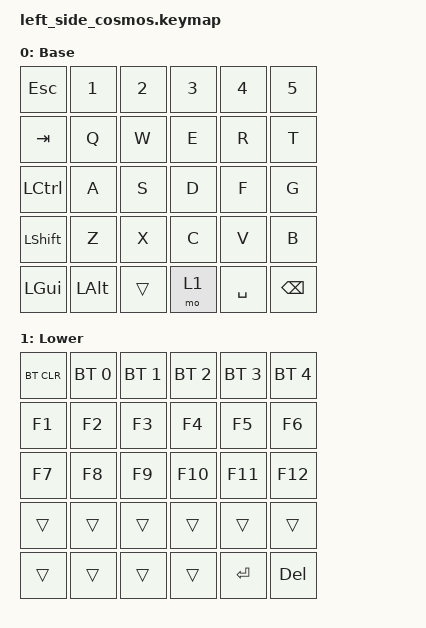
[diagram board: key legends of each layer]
#include <behaviors.dtsi>
#include <dt-bindings/zmk/keys.h>
#include <dt-bindings/zmk/bt.h>

/ {
    keymap {
        compatible = "zmk,keymap";

        default_layer {
            display-name = "Base";
// -----------------------------------------------------------------------------------------
// | ESC |  1  |  2  |  3  |  4  |  5  |
// | TAB |  Q  |  W  |  E  |  R  |  T  |
// |CTRL |  A  |  S  |  D  |  F  |  G  |
// |SHFT |  Z  |  X  |  C  |  V  |  B  |
// | GUI | ALT |     |LOWER| SPC | BSPC|
            bindings = <
&kp ESC   &kp N1   &kp N2   &kp N3   &kp N4    &kp N5
&kp TAB   &kp Q    &kp W    &kp E    &kp R     &kp T
&kp LCTRL &kp A    &kp S    &kp D    &kp F     &kp G
&kp LSHFT &kp Z    &kp X    &kp C    &kp V     &kp B
&kp LGUI  &kp LALT &trans   &mo 1    &kp SPACE &kp BSPC
            >;
        };

        lower_layer {
            display-name = "Lower";
// -----------------------------------------------------------------------------------------
// |BTCLR| BT1 | BT2 | BT3 | BT4 | BT5 |
// |  F1 |  F2 |  F3 |  F4 |  F5 |  F6 |
// |  F7 |  F8 |  F9 | F10 | F11 | F12 |
// |     |     |     |     |     |     |
// |     |     |     |     | ENT | DEL |
            bindings = <
&bt BT_CLR &bt BT_SEL 0 &bt BT_SEL 1 &bt BT_SEL 2 &bt BT_SEL 3 &bt BT_SEL 4
&kp F1     &kp F2       &kp F3       &kp F4       &kp F5       &kp F6
&kp F7     &kp F8       &kp F9       &kp F10      &kp F11      &kp F12
&trans     &trans       &trans       &trans       &trans       &trans
&trans     &trans       &trans       &trans       &kp RET      &kp DEL
            >;
        };
    };
};
